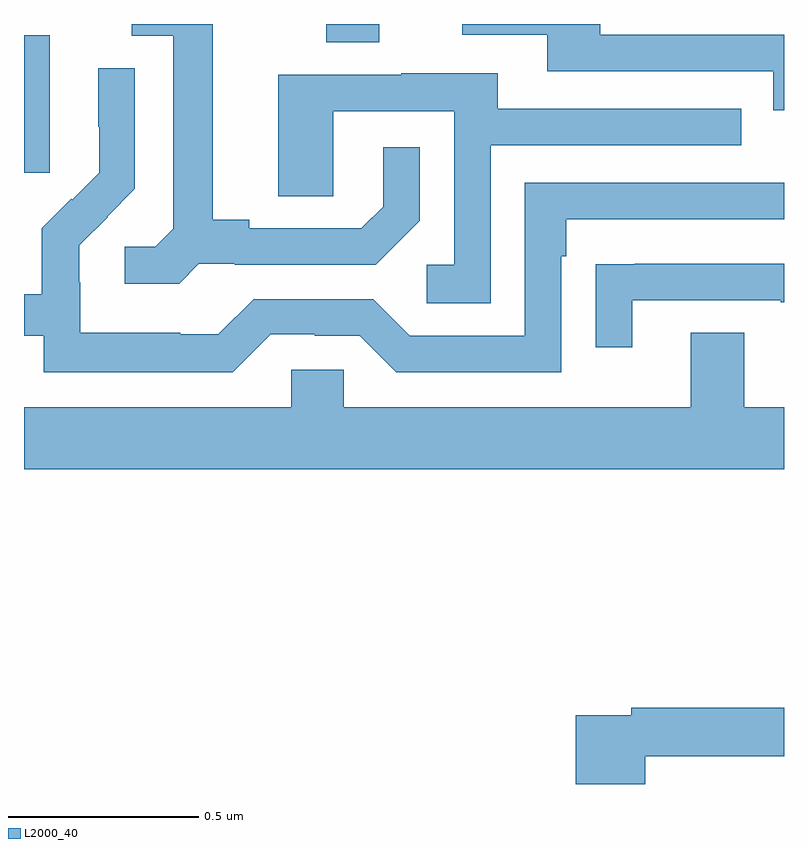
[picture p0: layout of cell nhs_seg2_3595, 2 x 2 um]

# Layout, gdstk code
import gdstk
lib = gdstk.Library(unit=1e-6, precision=1e-09)
def R(c, l, rs):  # rectangles x0, y0, x1, y1
    for r in rs: c.add(gdstk.rectangle(r[:2], r[2:], *l))
def P(c, l, *ps):  # polygons
    for p in ps: c.add(gdstk.Polygon(p, *l))
L2000_40 = (2000, 40)

nhs_seg2_3595 = lib.new_cell('nhs_seg2_3595')
R(nhs_seg2_3595, L2000_40, [(155,656.409,155.068,656.77), (155.795,656.752,155.935,656.8)])
P(nhs_seg2_3595, L2000_40, [(155.46,656.169),(155.554,656.169),(155.554,656.166),(155.926,656.166),(156.042,656.282),(156.042,656.476),(155.945,656.476),(155.945,656.319),(155.888,656.262),(155.593,656.262),(155.593,656.285),(155.497,656.285),(155.497,656.8),(155.283,656.8),(155.283,656.769),(155.393,656.769),(155.393,656.261),(155.346,656.214),(155.265,656.214),(155.265,656.117),(155.408,656.117)],
  [(157,656.772),(156.517,656.772),(156.517,656.8),(156.153,656.8),(156.153,656.772),(156.377,656.772),(156.377,656.676),(156.972,656.676),(156.972,656.573),(157,656.573)],
  [(155.649,655.983),(155.765,655.983),(155.765,655.98),(155.883,655.98),(155.979,655.884),(156.414,655.884),(156.414,656.189),(156.427,656.189),(156.427,656.286),(157,656.286),(157,656.382),(156.318,656.382),(156.318,655.98),(156.015,655.98),(155.919,656.076),(155.604,656.076),(155.511,655.983),(155.411,655.983),(155.411,655.987),(155.148,655.987),(155.148,656.121),(155.146,656.121),(155.146,656.218),(155.22,656.292),(155.219,656.293),(155.292,656.366),(155.292,656.684),(155.196,656.684),(155.196,656.53),(155.198,656.53),(155.198,656.408),(155.127,656.337),(155.124,656.34),(155.047,656.263),(155.047,656.089),(155,656.089),(155,655.98),(155.052,655.98),(155.052,655.883),(155.549,655.883)],
  [(156.228,656.481),(156.887,656.481),(156.887,656.577),(156.247,656.577),(156.247,656.671),(155.993,656.671),(155.993,656.667),(155.669,656.667),(155.669,656.347),(155.814,656.347),(155.814,656.571),(156.132,656.571),(156.132,656.166),(156.06,656.166),(156.06,656.065),(156.228,656.065)],
  [(156.601,656.073),(156.991,656.073),(156.991,656.068),(157,656.068),(157,656.169),(156.607,656.169),(156.607,656.168),(156.505,656.168),(156.505,655.95),(156.601,655.95)],
  [(157,655.792),(156.895,655.792),(156.895,655.987),(156.755,655.987),(156.755,655.792),(155.841,655.792),(155.841,655.89),(155.703,655.89),(155.703,655.792),(155,655.792),(155,655.628),(157,655.628)],
  [(156.635,654.873),(157,654.873),(157,655.001),(156.598,655.001),(156.598,654.981),(156.452,654.981),(156.452,654.8),(156.635,654.8)])

lib.write_gds('nhs_seg2_3595.gds')
